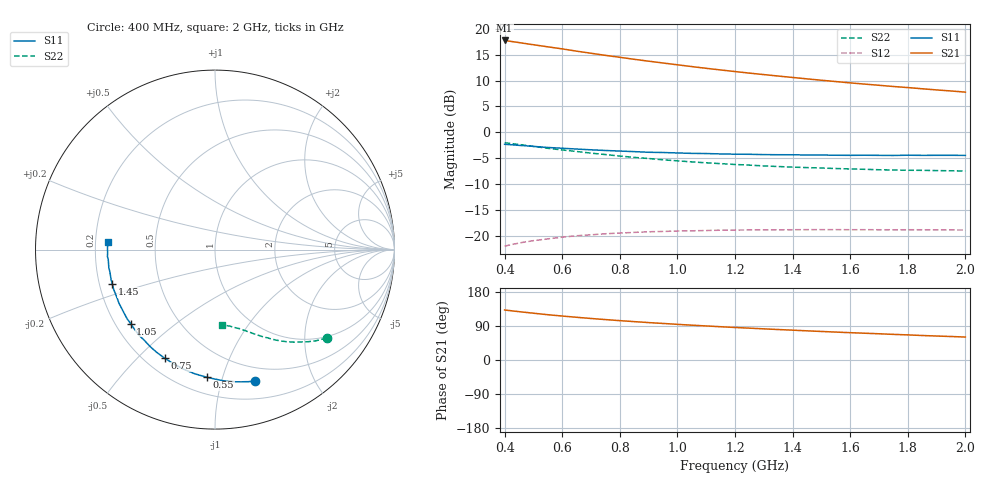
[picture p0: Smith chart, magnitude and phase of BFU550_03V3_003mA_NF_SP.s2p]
! Filename:  P:\Prog\Test\Noise\ATS_data\Testdata_Net\06 Compressed Noise after Statistics\BFU550_APG2013_43_D05_03p3V_003mA_NF_CM01_D.sf
! Date/Time: Fri 26/Apr/2013 13:07:19
! BFU550_APG2013_43_D05_03p3V_1to35mA_NF_CM01_Bias3_R.sf
! Noise Parameter Data File
! BFU550_APG2013_43_D05_03p3V_1to35mA_NF_CM01
! Date/time: Thu Apr 25 15:07:57 2013
! VAR V_out= 3.300000
! VAR I_out= 2.995000
! VAR V_in= 0.805200
! VAR I_in= 0.032805
! Device data file deembeded for feedlines and parallel
! Original file: \06 Compressed Noise after Statistics\BFU550_APG2013_43_D05_03p3V_003mA_NF_CM01_R.sf
! Feed-files: PR047V01_250413_Feed1.s2p, PR047V01_250413_Feed2.s2p
! Parallel-file: PR047V01_250413_Par.s2p
# MHz S MA R 50
!  Freq-MHz  S11-mag  S11-arg  S21-mag  S21-arg  S12-mag  S12-arg  S22-mag  S22-arg
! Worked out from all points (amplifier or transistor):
!   37 points, 400 MHz to 2 GHz, reference 50 ohm
!   highest |S21| = 17.8 dB at 400 MHz (marker M1)
!   |S21| within 3 dB of that: start of sweep to 765.9 MHz
!   unconditionally stable (mu >= 1): nowhere
!   at 500 MHz: K = 0.22, MSG = 18.9 dB, |S12| = -21.0 dB
!   at 1.1 GHz: K = 0.47, MSG = 15.7 dB, |S12| = -19.0 dB
!   at 2 GHz: K = 0.84, MSG = 13.3 dB, |S12| = -18.9 dB
!   lowest NFmin = 0.51 dB at 420 MHz
!   S11 on the Smith chart (normalised r, x): 400 MHz: 0.36, -1.29; 550 MHz: 0.31, -0.89; 750 MHz: 0.28, -0.60; 1.05 GHz: 0.26, -0.35; 1.45 GHz: 0.25, -0.15; 2 GHz: 0.25, +0.03
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400  0.766 -73.0  7.727 132.0  0.07923 51.3  0.793 -38.3
440  0.7515 -78.8  7.445 128.4  0.08378 48.6  0.7679 -41.0
460  0.7444 -81.5  7.299 126.8  0.08593 47.4  0.7565 -42.2
500  0.7306 -86.9  7.028 123.5  0.08957 45.0  0.731 -44.6
550  0.7132 -93.5  6.706 119.5  0.09316 42.3  0.7003 -47.3
600  0.701 -99.2  6.405 116.0  0.09679 40.0  0.6751 -49.8
650  0.6887 -104.7  6.089 112.7  0.09994 37.9  0.6519 -52.0
700  0.6771 -109.9  5.813 109.5  0.102 35.9  0.6288 -54.1
750  0.6671 -114.8  5.547 106.7  0.1045 34.2  0.6092 -55.9
800  0.6586 -119.3  5.31 103.9  0.1061 32.6  0.5892 -57.7
850  0.6504 -123.6  5.08 101.3  0.1076 31.1  0.572 -59.2
900  0.6411 -127.8  4.872 98.7  0.1092 29.8  0.5579 -60.9
950  0.6377 -131.6  4.678 96.4  0.11 28.7  0.542 -62.4
1050  0.6254 -138.8  4.319 91.9  0.1115 26.6  0.5173 -65.2
1200  0.6142 -148.2  3.867 85.8  0.1133 24.2  0.4885 -68.7
1300  0.6085 -153.7  3.614 82.2  0.1139 23.0  0.4732 -70.9
1450  0.603 -161.5  3.286 77.0  0.1144 21.6  0.4557 -74.0
1500  0.6029 -163.8  3.186 75.3  0.1145 21.2  0.4513 -75.1
1600  0.5988 -168.5  3.004 72.1  0.1143 20.6  0.442 -77.1
1750  0.5972 -174.7  2.772 67.6  0.1142 20.2  0.4319 -79.9
1850  0.5984 -178.5  2.635 64.7  0.1142 20.0  0.4287 -81.8
2000  0.5981 176.2  2.446 60.6  0.1134 20.2  0.4224 -84.6
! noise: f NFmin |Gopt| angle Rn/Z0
400  0.5341  0.3651  37.08  0.1428
460  0.5422  0.34  43.16  0.1275
600  0.5904  0.3276  49.17  0.1316
800  0.6481  0.3424  70.5  0.1189
1000  0.6879  0.3585  85.16  0.1122
1200  0.7506  0.3821  98.88  0.1034
1400  0.7685  0.4128  112.4  0.0895
1600  0.8169  0.4124  129.6  0.0719
1800  0.692  0.4465  144.1  0.0556
2000  0.9651  0.4563  155  0.054
